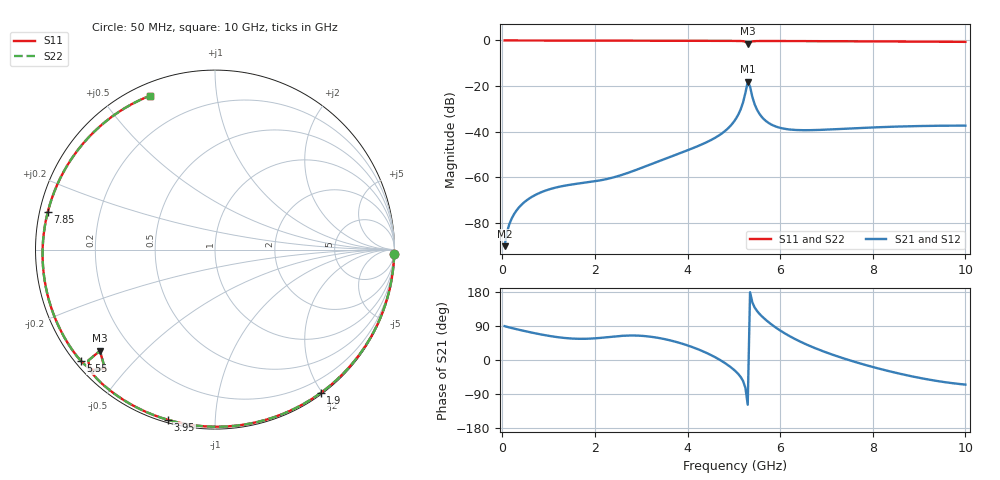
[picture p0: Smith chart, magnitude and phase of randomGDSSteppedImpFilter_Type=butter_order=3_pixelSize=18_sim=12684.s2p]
! freq	dB(S11)	phase(S11)	dB(S12)	phase(S12)
!  dB(S21)	phase(S21)	dB(S22)	phase(S22)
!S-par simulation data
#  GHz  S  DB  R 50
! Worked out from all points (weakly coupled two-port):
!   200 points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, 50 MHz to 10 GHz, reference 50 ohm
!   highest |S21| = -18.15 dB at 5.3 GHz (marker M1); lowest = -90.3 dB at 50 MHz (marker M2)
!   lowest |S11| = -1.4 dB at 5.3 GHz (marker M3), VSWR 12.66, Z = 4.51 - j18.7 ohm
!   |S11| at or under -10 dB: nowhere
!   |S22| runs from -1.4 to 0.0 dB; largest |S21 - S12| = 0
!   S11 on the Smith chart (normalised r, x): 50 MHz: 2, -82; 1.9 GHz: 0.02, -1.98; 3.95 GHz: 0.01, -0.76; 5.55 GHz: 0.02, -0.36; 7.85 GHz: 0.02, +0.11; 10 GHz: 0.05, +0.66
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0.05  -0.01 -1.4  -90.27 89.3  -90.27 89.3  -0.01 -1.4
0.15  -0.01 -4.3  -80.74 85.9  -80.74 85.9  -0.01 -4.3
0.4  -0.02 -11.6  -72.39 78.7  -72.39 78.7  -0.02 -11.6
0.7  -0.03 -20.2  -67.93 70.7  -67.93 70.7  -0.03 -20.2
1.75  -0.06 -49.6  -62.51 55.8  -62.51 55.8  -0.06 -49.5
1.9  -0.07 -53.6  -62.10 56.4  -62.10 56.4  -0.07 -53.6
2.5  -0.09 -69.5  -59.52 63.0  -59.52 63.0  -0.09 -69.5
3.4  -0.12 -92.2  -52.84 57.7  -52.84 57.7  -0.12 -92.2
3.95  -0.14 -105.4  -48.58 40.6  -48.58 40.6  -0.14 -105.4
4.65  -0.17 -121.9  -42.06 3.7  -42.06 3.7  -0.17 -121.9
5.05  -0.21 -131.7  -34.18 -31.2  -34.18 -31.2  -0.21 -131.7
5.2  -0.33 -136.4  -27.13 -55.6  -27.13 -55.6  -0.33 -136.4
5.3  -1.37 -138.7  -18.15 -118.0  -18.15 -118.0  -1.38 -138.7
5.35  -0.89 -132.9  -20.25 178.9  -20.25 178.9  -0.90 -132.9
5.45  -0.32 -137.1  -28.06 138.5  -28.06 138.5  -0.32 -137.1
5.55  -0.26 -140.2  -32.12 122.2  -32.12 122.2  -0.26 -140.2
5.7  -0.25 -144.0  -35.46 104.9  -35.46 104.9  -0.25 -144.0
5.95  -0.25 -149.8  -38.06 81.9  -38.06 81.9  -0.25 -149.8
6.7  -0.30 -166.6  -39.35 34.0  -39.35 34.0  -0.30 -166.6
7.85  -0.40 167.3  -38.31 -13.4  -38.31 -13.4  -0.40 167.3
8.35  -0.45 155.5  -37.91 -29.5  -37.91 -29.5  -0.45 155.4
10  -0.62 113.1  -37.39 -65.0  -37.39 -65.0  -0.62 113.0
